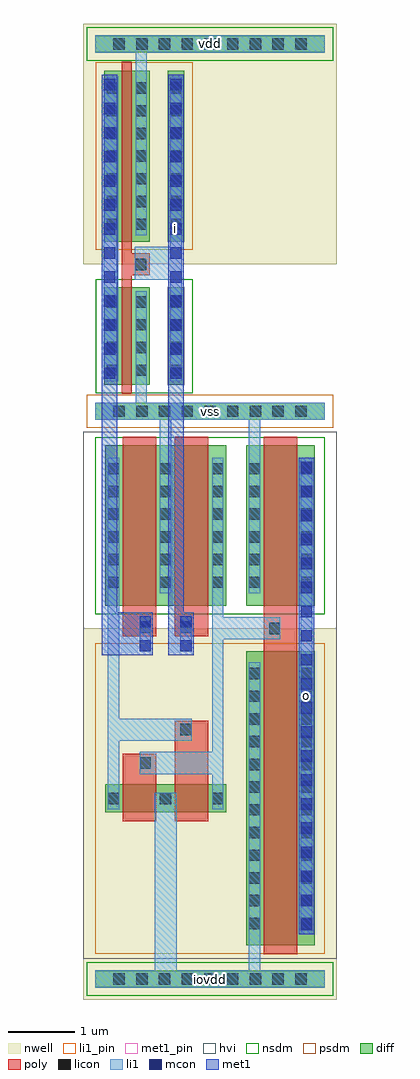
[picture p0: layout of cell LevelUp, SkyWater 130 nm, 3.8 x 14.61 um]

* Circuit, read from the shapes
.subckt LevelUp i iovdd o vdd vss
XM1 vss i n1 VSUBS sky130_fd_pr__nfet_01v8 w=1.46 l=0.15
XM2 vss n1 n2 VSUBS sky130_fd_pr__nfet_g5v0d10v5 w=2.4 l=0.5
XM3 n3 i vss VSUBS sky130_fd_pr__nfet_g5v0d10v5 w=2.4 l=0.5
XM4 o n3 vss VSUBS sky130_fd_pr__nfet_g5v0d10v5 w=2.4 l=0.5
XM5 vdd i n1 n4 sky130_fd_pr__pfet_01v8 w=2.56 l=0.15
XM6 iovdd n3 n2 n5 sky130_fd_pr__pfet_g5v0d10v5 w=0.42 l=0.5
XM7 n3 n2 iovdd n5 sky130_fd_pr__pfet_g5v0d10v5 w=0.42 l=0.5
XM8 o n3 iovdd n5 sky130_fd_pr__pfet_g5v0d10v5 w=4.4 l=0.5
.ends

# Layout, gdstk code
import gdstk
lib = gdstk.Library(unit=1e-6, precision=1e-09)
def R(c, l, rs):  # rectangles x0, y0, x1, y1
    for r in rs: c.add(gdstk.rectangle(r[:2], r[2:], *l))
def A(c, l, x, y, w, h, nx, ny, dx, dy):  # array of equal rectangles
    R(c, l, [(x+i*dx, y+j*dy, x+i*dx+w, y+j*dy+h) for i in range(nx) for j in range(ny)])
def P(c, l, *ps):  # polygons
    for p in ps: c.add(gdstk.Polygon(p, *l))
nwell = (64, 20)
diff = (65, 20)
poly = (66, 20)
licon = (66, 44)
li1_pin = (67, 16)
li1 = (67, 20)
mcon = (67, 44)
met1_pin = (68, 16)
met1 = (68, 20)
hvi = (75, 20)
nsdm = (93, 44)
psdm = (94, 20)

levelup = lib.new_cell('LevelUp')
R(levelup, nwell, [(-0.18,-0.305,3.62,5.25), (-0.18,10.7,3.62,14.305)])
R(levelup, diff, [(0,-0.125,3.44,0.125), (2.26,0.505,3.29,4.905), (0.15,2.495,1.96,2.915), (0.15,5.59,1.96,7.99), (2.26,5.59,3.29,7.99), (0,8.375,3.44,8.625), (0.135,8.895,0.815,10.355), (1.085,8.895,1.335,10.355), (0.135,11.04,0.815,13.6), (1.085,11.04,1.335,13.6), (0,13.875,3.44,14.125)])
R(levelup, poly, [(2.525,0.375,3.025,8.12), (0.415,2.365,0.915,3.37), (1.195,2.365,1.695,3.87), (0.415,5.135,0.915,8.12), (1.195,5.135,1.695,8.12)])
P(levelup, poly, [(0.4,8.765),(0.4,13.73),(0.55,13.73),(0.55,10.865),(0.815,10.865),(0.815,10.535),(0.55,10.535),(0.55,8.765)])
A(levelup, licon, 0.275, -0.085, 0.17, 0.17, 9, 2, 0.34, 8.5)
A(levelup, licon, 2.3, 0.75, 0.17, 0.17, 1, 12, 0, 0.34)
A(levelup, licon, 3.08, 0.75, 0.17, 0.17, 1, 12, 0, 0.34)
A(levelup, licon, 0.19, 2.62, 0.17, 0.17, 3, 2, 0.78, 3.235)
A(levelup, licon, 2.3, 5.855, 0.17, 0.17, 1, 6, 0, 0.34)
A(levelup, licon, 3.08, 5.855, 0.17, 0.17, 1, 6, 0, 0.34)
A(levelup, licon, 0.19, 6.195, 0.17, 0.17, 3, 5, 0.78, 0.34)
A(levelup, licon, 0.175, 9.03, 0.17, 0.17, 1, 4, 0, 0.34)
A(levelup, licon, 0.605, 9.03, 0.17, 0.17, 1, 4, 0, 0.34)
A(levelup, licon, 1.125, 9.03, 0.17, 0.17, 1, 4, 0, 0.34)
A(levelup, licon, 0.175, 11.215, 0.17, 0.17, 1, 7, 0, 0.34)
A(levelup, licon, 0.605, 11.215, 0.17, 0.17, 1, 7, 0, 0.34)
A(levelup, licon, 1.125, 11.215, 0.17, 0.17, 1, 7, 0, 0.34)
A(levelup, licon, 0.275, 13.915, 0.17, 0.17, 9, 1, 0.34, 0)
R(levelup, licon, [(0.665,3.15,0.835,3.32), (1.275,3.65,1.445,3.82), (2.605,5.165,2.775,5.335), (0.665,5.185,0.835,5.355), (1.275,5.185,1.445,5.355), (0.595,10.615,0.765,10.785)])
R(levelup, li1_pin, [(0,-0.13,3.44,0.13), (0,8.37,3.44,8.63), (0,13.87,3.44,14.13)])
R(levelup, li1, [(3.08,0.67,3.25,7.805), (0.665,4.905,0.835,5.435), (1.275,4.905,1.445,5.435)])
P(levelup, li1, [(0,-0.13),(0,0.13),(0.89,0.13),(0.89,2.79),(1.22,2.79),(1.22,0.13),(2.3,0.13),(2.3,4.74),(2.47,4.74),(2.47,0.13),(3.44,0.13),(3.44,-0.13)],
  [(0.19,2.54),(0.19,7.805),(0.36,7.805),(0.36,3.9),(1.445,3.9),(1.445,3.57),(0.36,3.57),(0.36,2.54)],
  [(1.75,2.54),(1.75,3.07),(0.665,3.07),(0.665,3.4),(1.75,3.4),(1.75,7.805),(1.92,7.805),(1.92,5.415),(2.775,5.415),(2.775,5.085),(1.92,5.085),(1.92,2.54)],
  [(0.97,5.775),(0.97,8.37),(0,8.37),(0,8.63),(0.605,8.63),(0.605,10.3),(0.775,10.3),(0.775,8.63),(3.44,8.63),(3.44,8.37),(2.47,8.37),(2.47,5.775),(2.3,5.775),(2.3,8.37),(1.14,8.37),(1.14,5.775)],
  [(0.175,8.95),(0.175,8.985),(0.13,8.985),(0.13,13.475),(0.175,13.475),(0.175,13.505),(0.345,13.505),(0.345,8.95)],
  [(1.125,8.95),(1.125,10.47),(0.595,10.47),(0.595,10.965),(1.125,10.965),(1.125,13.505),(1.295,13.505),(1.295,8.95)],
  [(0.605,11.135),(0.605,13.87),(0,13.87),(0,14.13),(3.44,14.13),(3.44,13.87),(0.775,13.87),(0.775,11.135)])
A(levelup, mcon, 3.08, 0.735, 0.17, 0.17, 1, 20, 0, 0.36)
A(levelup, mcon, 0.13, 8.985, 0.17, 0.17, 1, 13, 0, 0.36)
A(levelup, mcon, 1.125, 8.985, 0.17, 0.17, 1, 13, 0, 0.36)
R(levelup, mcon, [(0.665,4.905,0.835,5.075), (1.275,4.905,1.445,5.075), (0.665,5.265,0.835,5.435), (1.275,5.265,1.445,5.435)])
R(levelup, met1_pin, [(3.05,0.675,3.28,7.805), (1.095,8.925,1.325,13.535)])
R(levelup, met1, [(3.05,0.675,3.28,7.805)])
P(levelup, met1, [(0.1,4.845),(0.1,13.535),(0.33,13.535),(0.33,5.495),(0.865,5.495),(0.865,4.845)],
  [(1.095,4.845),(1.095,13.535),(1.325,13.535),(1.325,5.495),(1.475,5.495),(1.475,4.845)])
R(levelup, hvi, [(-0.18,0.305,3.62,8.195)])
R(levelup, nsdm, [(-0.125,-0.25,3.565,0.25), (0,5.465,3.44,8.115), (0.01,8.77,1.46,10.48), (-0.125,13.75,3.565,14.25)])
R(levelup, psdm, [(0,0.38,3.44,5.03), (-0.125,8.25,3.565,8.75), (0.01,10.915,1.46,13.725)])
levelup.add(gdstk.Label('vdd', (1.72,14), layer=67, texttype=16))
levelup.add(gdstk.Label('vss', (1.72,8.5), layer=67, texttype=16))
levelup.add(gdstk.Label('iovdd', (1.72,0), layer=67, texttype=16))
levelup.add(gdstk.Label('vdd', (1.72,14), layer=67, texttype=16))
levelup.add(gdstk.Label('vss', (1.72,8.5), layer=67, texttype=16))
levelup.add(gdstk.Label('iovdd', (1.72,0), layer=67, texttype=16))
levelup.add(gdstk.Label('i', (1.21,11.23), layer=68, texttype=16))
levelup.add(gdstk.Label('o', (3.165,4.24), layer=68, texttype=16))
levelup.add(gdstk.Label('i', (1.21,11.23), layer=68, texttype=16))
levelup.add(gdstk.Label('o', (3.165,4.24), layer=68, texttype=16))

lib.write_gds('LevelUp.gds')
